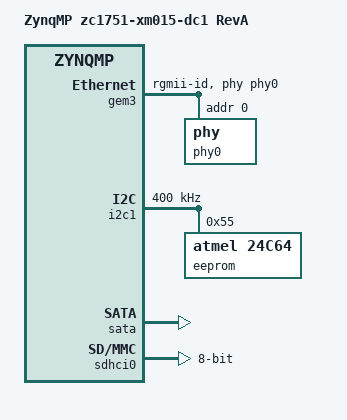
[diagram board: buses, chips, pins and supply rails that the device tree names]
// SPDX-License-Identifier: GPL-2.0+
/*
 * dts file for Xilinx ZynqMP zc1751-xm015-dc1
 *
 * (C) Copyright 2015-2022 Xilinx, Inc.
 * (C) Copyright 2022 Advanced Micro Devices, Inc. All Rights Reserved.
 *
 * Michal Simek <michal.simek@xilinx.com>
 */


/ {
	model = "ZynqMP zc1751-xm015-dc1 RevA";
	compatible = "xlnx,zynqmp-zc1751", "xlnx,zynqmp";

	aliases {
		ethernet0 = &gem3;
		i2c0 = &i2c1;
		mmc0 = &sdhci0;
		mmc1 = &sdhci1;
		rtc0 = &rtc;
		serial0 = &uart0;
	};

};

&gem3 {
	status = "okay";
	phy-handle = <&phy0>;
	phy-mode = "rgmii-id";
	phy0: phy@0 {
		reg = <0>;
	};
};


&i2c1 {
	status = "okay";
	clock-frequency = <400000>;

	eeprom: eeprom@55 {
		compatible = "atmel,24c64"; /* 24AA64 */
		reg = <0x55>;
	};
};

&sata {
	status = "okay";
	/* SATA phy OOB timing settings */
	ceva,p0-cominit-params = /bits/ 8 <0x1B 0x4D 0x18 0x28>;
	ceva,p0-comwake-params = /bits/ 8 <0x06 0x19 0x08 0x0E>;
	ceva,p0-burst-params = /bits/ 8 <0x13 0x08 0x4A 0x06>;
	ceva,p0-retry-params = /bits/ 16 <0x96A4 0x3FFC>;
	ceva,p1-cominit-params = /bits/ 8 <0x1B 0x4D 0x18 0x28>;
	ceva,p1-comwake-params = /bits/ 8 <0x06 0x19 0x08 0x0E>;
	ceva,p1-burst-params = /bits/ 8 <0x13 0x08 0x4A 0x06>;
	ceva,p1-retry-params = /bits/ 16 <0x96A4 0x3FFC>;
};

/* eMMC */
&sdhci0 {
	status = "okay";
	bus-width = <8>;
};

